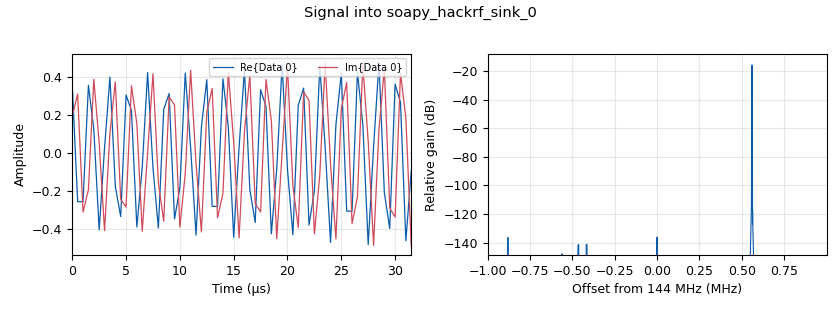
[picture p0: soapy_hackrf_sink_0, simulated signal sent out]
options:
  parameters:
    generate_options: qt_gui
    id: fox
    output_language: python
    title: Fox
  states: {}

blocks:
- name: audio_freq
  id: variable_qtgui_range
  parameters:
    label: audio_freq
    start: '500'
    step: '50'
    stop: '2000'
    value: '1000'
  states: {}
- name: audio_samp_rate
  id: variable
  parameters:
    value: '20000'
  states: {}
- name: cw_speed
  id: variable_qtgui_range
  parameters:
    label: cw_speed
    rangeType: int
    start: '100000'
    step: '10000'
    stop: '500000'
    value: '250000'
  states: {}
- name: freq
  id: variable_qtgui_range
  parameters:
    label: freq
    start: '0'
    step: 5e3
    stop: 1e6
    value: 560e3
  states: {}
- name: samp_rate
  id: variable
  parameters:
    value: 2e6
  states: {}
- name: analog_const_source_x_0
  id: analog_const_source_x
  parameters:
    const: '0'
    type: float
  states: {}
- name: analog_const_source_x_0_0
  id: analog_const_source_x
  parameters:
    const: '0'
    type: float
  states: {}
- name: analog_const_source_x_1
  id: analog_const_source_x
  parameters:
    const: '1'
    type: float
  states: {}
- name: analog_sig_source_x_0
  id: analog_sig_source_x
  parameters:
    amp: '0.5'
    freq: audio_freq
    offset: '0.5'
    phase: '0'
    samp_rate: samp_rate
    type: float
    waveform: analog.GR_SIN_WAVE
  states: {}
- name: analog_sig_source_x_0_0
  id: analog_sig_source_x
  parameters:
    amp: '1'
    freq: freq
    offset: '0'
    phase: '0'
    samp_rate: samp_rate
    type: complex
    waveform: analog.GR_COS_WAVE
  states: {}
- name: blocks_add_xx_0
  id: blocks_add_xx
  parameters:
    type: complex
  states: {}
- name: blocks_float_to_complex_0
  id: blocks_float_to_complex
  parameters: {}
  states: {}
- name: blocks_float_to_complex_0_0
  id: blocks_float_to_complex
  parameters: {}
  states: {}
- name: blocks_multiply_xx_0
  id: blocks_multiply_xx
  parameters:
    type: float
  states: {}
- name: blocks_multiply_xx_1_0_0
  id: blocks_multiply_xx
  parameters:
    type: complex
  states: {}
- name: blocks_multiply_xx_1_0_0_0
  id: blocks_multiply_xx
  parameters:
    type: complex
  states: {}
- name: blocks_repeat_0
  id: blocks_repeat
  parameters:
    interp: cw_speed
    type: float
  states: {}
- name: blocks_sub_xx_0
  id: blocks_sub_xx
  parameters:
    type: float
  states: {}
- name: blocks_vector_source_x_0
  id: blocks_vector_source_x
  parameters:
    repeat: 'True'
    type: float
    vector: (1, 1, 1, 0, 1, 1, 1, 0, 0, 0, 1, 1 ,1 ,0, 1, 1, 1, 0, 1, 1, 1, 0, 0, 0, 1, 0, 0, 0, 0, 0, 0)
  states: {}
- name: soapy_hackrf_sink_0
  id: soapy_hackrf_sink
  parameters:
    center_freq: 144e6
    samp_rate: samp_rate
    type: fc32
  states: {}

connections:
- [analog_const_source_x_0, '0', blocks_float_to_complex_0, '1']
- [analog_const_source_x_0_0, '0', blocks_float_to_complex_0_0, '1']
- [analog_const_source_x_1, '0', blocks_sub_xx_0, '0']
- [analog_sig_source_x_0, '0', blocks_multiply_xx_0, '0']
- [analog_sig_source_x_0_0, '0', blocks_multiply_xx_1_0_0, '0']
- [analog_sig_source_x_0_0, '0', blocks_multiply_xx_1_0_0_0, '1']
- [blocks_add_xx_0, '0', soapy_hackrf_sink_0, '0']
- [blocks_float_to_complex_0, '0', blocks_multiply_xx_1_0_0_0, '0']
- [blocks_float_to_complex_0_0, '0', blocks_multiply_xx_1_0_0, '1']
- [blocks_multiply_xx_0, '0', blocks_float_to_complex_0, '0']
- [blocks_multiply_xx_1_0_0, '0', blocks_add_xx_0, '1']
- [blocks_multiply_xx_1_0_0_0, '0', blocks_add_xx_0, '0']
- [blocks_repeat_0, '0', blocks_multiply_xx_0, '1']
- [blocks_repeat_0, '0', blocks_sub_xx_0, '1']
- [blocks_sub_xx_0, '0', blocks_float_to_complex_0_0, '0']
- [blocks_vector_source_x_0, '0', blocks_repeat_0, '0']

metadata:
  file_format: 1
  grc_version: 3.10.11.0
